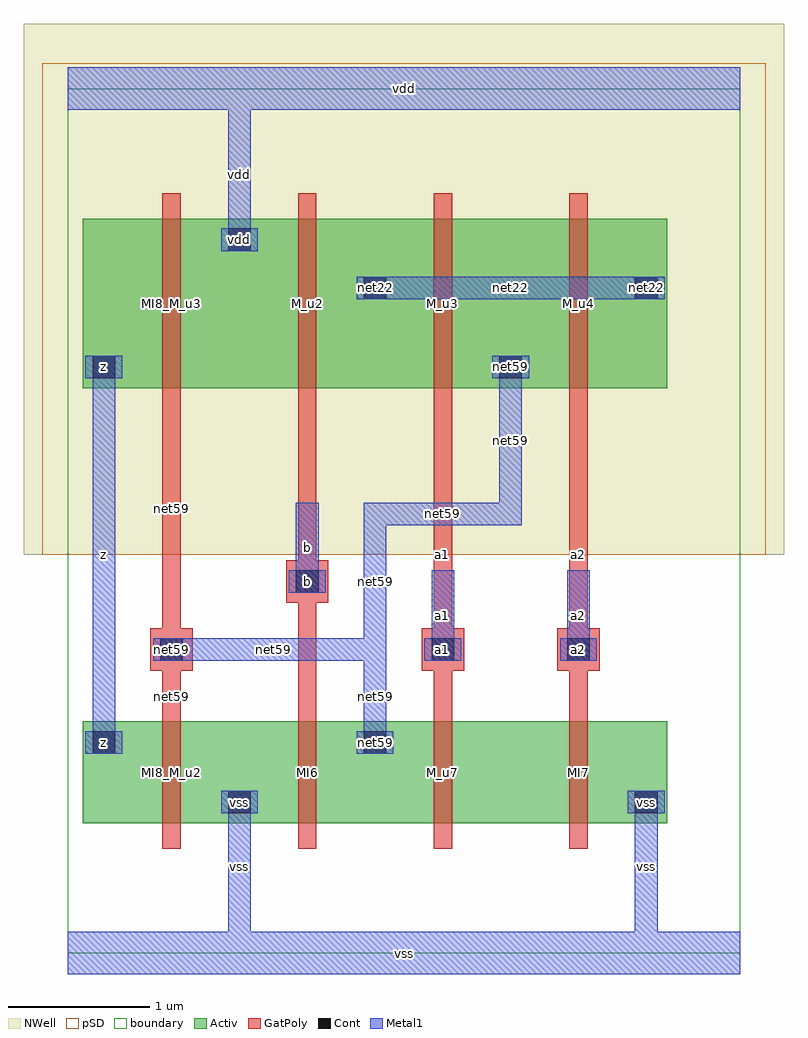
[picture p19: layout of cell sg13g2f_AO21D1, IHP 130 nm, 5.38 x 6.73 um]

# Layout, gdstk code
import gdstk
lib = gdstk.Library(unit=1e-6, precision=1e-09)
def R(c, l, rs):  # rectangles x0, y0, x1, y1
    for r in rs: c.add(gdstk.rectangle(r[:2], r[2:], *l))
def A(c, l, x, y, w, h, nx, ny, dx, dy):  # array of equal rectangles
    R(c, l, [(x+i*dx, y+j*dy, x+i*dx+w, y+j*dy+h) for i in range(nx) for j in range(ny)])
Activ = (1, 0)
GatPoly = (5, 0)
Cont = (6, 0)
Metal1 = (8, 0)
pSD = (14, 0)
NWell = (31, 0)
TEXT = (63, 0)
boundary = (189, 4)

sg13g2f_ao21d1 = lib.new_cell('sg13g2f_AO21D1')
A(sg13g2f_ao21d1, Activ, 0.105, 0.92, 1.26, 0.72, 4, 1, 0.96, 0)
A(sg13g2f_ao21d1, Activ, 0.105, 4, 1.26, 1.2, 4, 1, 0.96, 0)
R(sg13g2f_ao21d1, Activ, [(1.065,0.92,1.365,1.22), (3.945,0.92,4.245,1.22), (0.105,1.34,0.405,1.64), (2.025,1.34,2.325,1.64), (0.105,4,0.405,4.3), (2.985,4,3.285,4.3), (2.025,4.56,2.325,4.86), (3.945,4.56,4.245,4.86), (1.065,4.9,1.365,5.2)])
A(sg13g2f_ao21d1, GatPoly, 0.67, 0.74, 0.13, 1.08, 4, 1, 0.96, 0)
A(sg13g2f_ao21d1, GatPoly, 1.63, 1.425, 0.13, 2.79, 3, 1, 0.96, 0)
A(sg13g2f_ao21d1, GatPoly, 0.67, 3.82, 0.13, 1.56, 4, 1, 0.96, 0)
R(sg13g2f_ao21d1, GatPoly, [(0.67,1.425,0.8,2.215), (0.585,2,0.885,2.3), (2.505,2,2.805,2.3), (3.465,2,3.765,2.3), (0.67,2.085,0.8,4.215), (1.545,2.48,1.845,2.78)])
R(sg13g2f_ao21d1, Cont, [(1.135,0.99,1.295,1.15), (4.015,0.99,4.175,1.15), (0.175,1.41,0.335,1.57), (2.095,1.41,2.255,1.57), (0.655,2.07,0.815,2.23), (2.575,2.07,2.735,2.23), (3.535,2.07,3.695,2.23), (1.615,2.55,1.775,2.71), (0.175,4.07,0.335,4.23), (3.055,4.07,3.215,4.23), (2.095,4.63,2.255,4.79), (4.015,4.63,4.175,4.79), (1.135,4.97,1.295,5.13)])
R(sg13g2f_ao21d1, Metal1, [(0,-0.15,4.76,0.15), (1.135,0.07,1.295,1.15), (4.015,0.07,4.175,1.15), (1.085,0.99,1.345,1.15), (3.965,0.99,4.225,1.15), (0.125,1.41,0.385,1.57), (0.175,1.41,0.335,4.23), (2.045,1.41,2.305,1.57), (2.095,1.41,2.255,2.23), (0.605,2.07,0.865,2.23), (0.655,2.07,2.255,2.23), (2.095,2.07,2.255,3.19), (2.525,2.07,2.785,2.23), (2.575,2.07,2.735,2.71), (3.485,2.07,3.745,2.23), (3.535,2.07,3.695,2.71), (1.565,2.55,1.825,2.71), (1.615,2.55,1.775,3.19), (2.095,3.03,3.215,3.19), (3.055,3.03,3.215,4.23), (0.125,4.07,0.385,4.23), (3.005,4.07,3.265,4.23), (2.045,4.63,2.305,4.79), (2.095,4.63,4.175,4.79), (3.965,4.63,4.225,4.79), (1.085,4.97,1.345,5.13), (1.135,4.97,1.295,6.05), (0,5.97,4.76,6.27)])
R(sg13g2f_ao21d1, pSD, [(-0.18,2.82,4.94,5.94), (-0.18,5.94,4.94,6.3)])
R(sg13g2f_ao21d1, NWell, [(-0.31,2.82,5.07,6.58)])
R(sg13g2f_ao21d1, boundary, [(0,0,4.76,6.12)])
sg13g2f_ao21d1.add(gdstk.FlexPath([(0.105,0.41),(4.245,0.41)], 0, ends="flush", simple_path=True, layer=63, datatype=0))  # TEXT
sg13g2f_ao21d1.add(gdstk.FlexPath([(0.105,1.07),(4.245,1.07)], 0, ends="flush", simple_path=True, layer=63, datatype=0))  # TEXT
sg13g2f_ao21d1.add(gdstk.FlexPath([(0.105,1.49),(4.245,1.49)], 0, ends="flush", simple_path=True, layer=63, datatype=0))  # TEXT
sg13g2f_ao21d1.add(gdstk.FlexPath([(0.105,2.15),(4.245,2.15)], 0, ends="flush", simple_path=True, layer=63, datatype=0))  # TEXT
sg13g2f_ao21d1.add(gdstk.FlexPath([(0.105,2.63),(4.245,2.63)], 0, ends="flush", simple_path=True, layer=63, datatype=0))  # TEXT
sg13g2f_ao21d1.add(gdstk.FlexPath([(0.105,3.11),(4.245,3.11)], 0, ends="flush", simple_path=True, layer=63, datatype=0))  # TEXT
sg13g2f_ao21d1.add(gdstk.FlexPath([(0.105,4.15),(4.245,4.15)], 0, ends="flush", simple_path=True, layer=63, datatype=0))  # TEXT
sg13g2f_ao21d1.add(gdstk.FlexPath([(0.105,4.71),(4.245,4.71)], 0, ends="flush", simple_path=True, layer=63, datatype=0))  # TEXT
sg13g2f_ao21d1.add(gdstk.FlexPath([(0.105,5.05),(4.245,5.05)], 0, ends="flush", simple_path=True, layer=63, datatype=0))  # TEXT
sg13g2f_ao21d1.add(gdstk.FlexPath([(0.105,5.71),(4.245,5.71)], 0, ends="flush", simple_path=True, layer=63, datatype=0))  # TEXT
sg13g2f_ao21d1.add(gdstk.FlexPath([(0.255,0.07),(0.255,6.05)], 0, ends="flush", simple_path=True, layer=63, datatype=0))  # TEXT
sg13g2f_ao21d1.add(gdstk.FlexPath([(0.735,0.07),(0.735,6.05)], 0, ends="flush", simple_path=True, layer=63, datatype=0))  # TEXT
sg13g2f_ao21d1.add(gdstk.FlexPath([(1.215,0.07),(1.215,6.05)], 0, ends="flush", simple_path=True, layer=63, datatype=0))  # TEXT
sg13g2f_ao21d1.add(gdstk.FlexPath([(1.695,0.07),(1.695,6.05)], 0, ends="flush", simple_path=True, layer=63, datatype=0))  # TEXT
sg13g2f_ao21d1.add(gdstk.FlexPath([(2.175,0.07),(2.175,6.05)], 0, ends="flush", simple_path=True, layer=63, datatype=0))  # TEXT
sg13g2f_ao21d1.add(gdstk.FlexPath([(2.655,0.07),(2.655,6.05)], 0, ends="flush", simple_path=True, layer=63, datatype=0))  # TEXT
sg13g2f_ao21d1.add(gdstk.FlexPath([(3.135,0.07),(3.135,6.05)], 0, ends="flush", simple_path=True, layer=63, datatype=0))  # TEXT
sg13g2f_ao21d1.add(gdstk.FlexPath([(3.615,0.07),(3.615,6.05)], 0, ends="flush", simple_path=True, layer=63, datatype=0))  # TEXT
sg13g2f_ao21d1.add(gdstk.FlexPath([(4.095,0.07),(4.095,6.05)], 0, ends="flush", simple_path=True, layer=63, datatype=0))  # TEXT
sg13g2f_ao21d1.add(gdstk.Label('a2', (3.615,2.15), layer=6, texttype=0))
sg13g2f_ao21d1.add(gdstk.Label('net59', (2.175,1.49), layer=6, texttype=0))
sg13g2f_ao21d1.add(gdstk.Label('net59', (3.135,4.15), layer=6, texttype=0))
sg13g2f_ao21d1.add(gdstk.Label('net59', (0.735,2.15), layer=6, texttype=0))
sg13g2f_ao21d1.add(gdstk.Label('a1', (2.655,2.15), layer=6, texttype=0))
sg13g2f_ao21d1.add(gdstk.Label('b', (1.695,2.63), layer=6, texttype=0))
sg13g2f_ao21d1.add(gdstk.Label('z', (0.255,1.49), layer=6, texttype=0))
sg13g2f_ao21d1.add(gdstk.Label('z', (0.255,4.15), layer=6, texttype=0))
sg13g2f_ao21d1.add(gdstk.Label('net22', (2.175,4.71), layer=6, texttype=0))
sg13g2f_ao21d1.add(gdstk.Label('net22', (4.095,4.71), layer=6, texttype=0))
sg13g2f_ao21d1.add(gdstk.Label('vss', (4.095,1.07), layer=6, texttype=0))
sg13g2f_ao21d1.add(gdstk.Label('vss', (1.215,1.07), layer=6, texttype=0))
sg13g2f_ao21d1.add(gdstk.Label('vdd', (1.215,5.05), layer=6, texttype=0))
sg13g2f_ao21d1.add(gdstk.Label('net59', (2.175,1.49), layer=8, texttype=0))
sg13g2f_ao21d1.add(gdstk.Label('net59', (3.135,4.15), layer=8, texttype=0))
sg13g2f_ao21d1.add(gdstk.Label('net59', (2.175,1.82), layer=8, texttype=0))
sg13g2f_ao21d1.add(gdstk.Label('net59', (1.455,2.15), layer=8, texttype=0))
sg13g2f_ao21d1.add(gdstk.Label('net59', (0.735,2.15), layer=8, texttype=0))
sg13g2f_ao21d1.add(gdstk.Label('net59', (2.175,2.63), layer=8, texttype=0))
sg13g2f_ao21d1.add(gdstk.Label('net59', (2.655,3.11), layer=8, texttype=0))
sg13g2f_ao21d1.add(gdstk.Label('net59', (3.135,3.63), layer=8, texttype=0))
sg13g2f_ao21d1.add(gdstk.Label('net22', (2.175,4.71), layer=8, texttype=0))
sg13g2f_ao21d1.add(gdstk.Label('net22', (4.095,4.71), layer=8, texttype=0))
sg13g2f_ao21d1.add(gdstk.Label('net22', (3.135,4.71), layer=8, texttype=0))
sg13g2f_ao21d1.add(gdstk.Label('vss', (4.095,1.07), layer=8, texttype=0))
sg13g2f_ao21d1.add(gdstk.Label('vss', (4.095,0.61), layer=8, texttype=0))
sg13g2f_ao21d1.add(gdstk.Label('vss', (1.215,1.07), layer=8, texttype=0))
sg13g2f_ao21d1.add(gdstk.Label('vss', (1.215,0.61), layer=8, texttype=0))
sg13g2f_ao21d1.add(gdstk.Label('vdd', (1.215,5.05), layer=8, texttype=0))
sg13g2f_ao21d1.add(gdstk.Label('vdd', (1.215,5.51), layer=8, texttype=0))
sg13g2f_ao21d1.add(gdstk.Label('a2', (3.615,2.15), layer=8, texttype=2))
sg13g2f_ao21d1.add(gdstk.Label('a2', (3.615,2.39), layer=8, texttype=2))
sg13g2f_ao21d1.add(gdstk.Label('a1', (2.655,2.15), layer=8, texttype=2))
sg13g2f_ao21d1.add(gdstk.Label('a1', (2.655,2.39), layer=8, texttype=2))
sg13g2f_ao21d1.add(gdstk.Label('b', (1.695,2.63), layer=8, texttype=2))
sg13g2f_ao21d1.add(gdstk.Label('b', (1.695,2.87), layer=8, texttype=2))
sg13g2f_ao21d1.add(gdstk.Label('z', (0.255,1.49), layer=8, texttype=2))
sg13g2f_ao21d1.add(gdstk.Label('z', (0.255,4.15), layer=8, texttype=2))
sg13g2f_ao21d1.add(gdstk.Label('z', (0.255,2.82), layer=8, texttype=2))
sg13g2f_ao21d1.add(gdstk.Label('vss', (2.38,0), layer=8, texttype=2))
sg13g2f_ao21d1.add(gdstk.Label('vdd', (2.38,6.12), layer=8, texttype=2))
sg13g2f_ao21d1.add(gdstk.Label('a2', (3.615,2.15), layer=8, texttype=2))
sg13g2f_ao21d1.add(gdstk.Label('a2', (3.615,2.39), layer=8, texttype=2))
sg13g2f_ao21d1.add(gdstk.Label('a1', (2.655,2.15), layer=8, texttype=2))
sg13g2f_ao21d1.add(gdstk.Label('a1', (2.655,2.39), layer=8, texttype=2))
sg13g2f_ao21d1.add(gdstk.Label('b', (1.695,2.63), layer=8, texttype=2))
sg13g2f_ao21d1.add(gdstk.Label('b', (1.695,2.87), layer=8, texttype=2))
sg13g2f_ao21d1.add(gdstk.Label('z', (0.255,1.49), layer=8, texttype=2))
sg13g2f_ao21d1.add(gdstk.Label('z', (0.255,4.15), layer=8, texttype=2))
sg13g2f_ao21d1.add(gdstk.Label('z', (0.255,2.82), layer=8, texttype=2))
sg13g2f_ao21d1.add(gdstk.Label('vss', (2.38,0), layer=8, texttype=2))
sg13g2f_ao21d1.add(gdstk.Label('vdd', (2.38,6.12), layer=8, texttype=2))
sg13g2f_ao21d1.add(gdstk.Label('MI7', (3.615,1.28), layer=1, texttype=0))
sg13g2f_ao21d1.add(gdstk.Label('M_u7', (2.655,1.28), layer=1, texttype=0))
sg13g2f_ao21d1.add(gdstk.Label('MI6', (1.695,1.28), layer=1, texttype=0))
sg13g2f_ao21d1.add(gdstk.Label('MI8_M_u2', (0.735,1.28), layer=1, texttype=0))
sg13g2f_ao21d1.add(gdstk.Label('M_u3', (2.655,4.6), layer=1, texttype=0))
sg13g2f_ao21d1.add(gdstk.Label('MI8_M_u3', (0.735,4.6), layer=1, texttype=0))
sg13g2f_ao21d1.add(gdstk.Label('M_u4', (3.615,4.6), layer=1, texttype=0))
sg13g2f_ao21d1.add(gdstk.Label('M_u2', (1.695,4.6), layer=1, texttype=0))
sg13g2f_ao21d1.add(gdstk.Label('net59', (2.175,1.49), layer=1, texttype=0))
sg13g2f_ao21d1.add(gdstk.Label('net59', (3.135,4.15), layer=1, texttype=0))
sg13g2f_ao21d1.add(gdstk.Label('z', (0.255,1.49), layer=1, texttype=0))
sg13g2f_ao21d1.add(gdstk.Label('z', (0.255,4.15), layer=1, texttype=0))
sg13g2f_ao21d1.add(gdstk.Label('net22', (2.175,4.71), layer=1, texttype=0))
sg13g2f_ao21d1.add(gdstk.Label('net22', (4.095,4.71), layer=1, texttype=0))
sg13g2f_ao21d1.add(gdstk.Label('vss', (4.095,1.07), layer=1, texttype=0))
sg13g2f_ao21d1.add(gdstk.Label('vss', (1.215,1.07), layer=1, texttype=0))
sg13g2f_ao21d1.add(gdstk.Label('vdd', (1.215,5.05), layer=1, texttype=0))
sg13g2f_ao21d1.add(gdstk.Label('a2', (3.615,2.15), layer=8, texttype=25))
sg13g2f_ao21d1.add(gdstk.Label('a2', (3.615,2.39), layer=8, texttype=25))
sg13g2f_ao21d1.add(gdstk.Label('a1', (2.655,2.15), layer=8, texttype=25))
sg13g2f_ao21d1.add(gdstk.Label('a1', (2.655,2.39), layer=8, texttype=25))
sg13g2f_ao21d1.add(gdstk.Label('b', (1.695,2.63), layer=8, texttype=25))
sg13g2f_ao21d1.add(gdstk.Label('b', (1.695,2.87), layer=8, texttype=25))
sg13g2f_ao21d1.add(gdstk.Label('z', (0.255,1.49), layer=8, texttype=25))
sg13g2f_ao21d1.add(gdstk.Label('z', (0.255,4.15), layer=8, texttype=25))
sg13g2f_ao21d1.add(gdstk.Label('z', (0.255,2.82), layer=8, texttype=25))
sg13g2f_ao21d1.add(gdstk.Label('vss', (2.38,0), layer=8, texttype=25))
sg13g2f_ao21d1.add(gdstk.Label('vdd', (2.38,6.12), layer=8, texttype=25))
sg13g2f_ao21d1.add(gdstk.Label('a2', (3.615,2.82), layer=5, texttype=0))
sg13g2f_ao21d1.add(gdstk.Label('a2', (3.615,2.15), layer=5, texttype=0))
sg13g2f_ao21d1.add(gdstk.Label('net59', (0.735,2.15), layer=5, texttype=0))
sg13g2f_ao21d1.add(gdstk.Label('net59', (0.735,1.82), layer=5, texttype=0))
sg13g2f_ao21d1.add(gdstk.Label('net59', (0.735,3.15), layer=5, texttype=0))
sg13g2f_ao21d1.add(gdstk.Label('a1', (2.655,2.82), layer=5, texttype=0))
sg13g2f_ao21d1.add(gdstk.Label('a1', (2.655,2.15), layer=5, texttype=0))
sg13g2f_ao21d1.add(gdstk.Label('b', (1.695,2.82), layer=5, texttype=0))
sg13g2f_ao21d1.add(gdstk.Label('b', (1.695,2.63), layer=5, texttype=0))

lib.write_gds('sg13g2f_AO21D1.gds')
